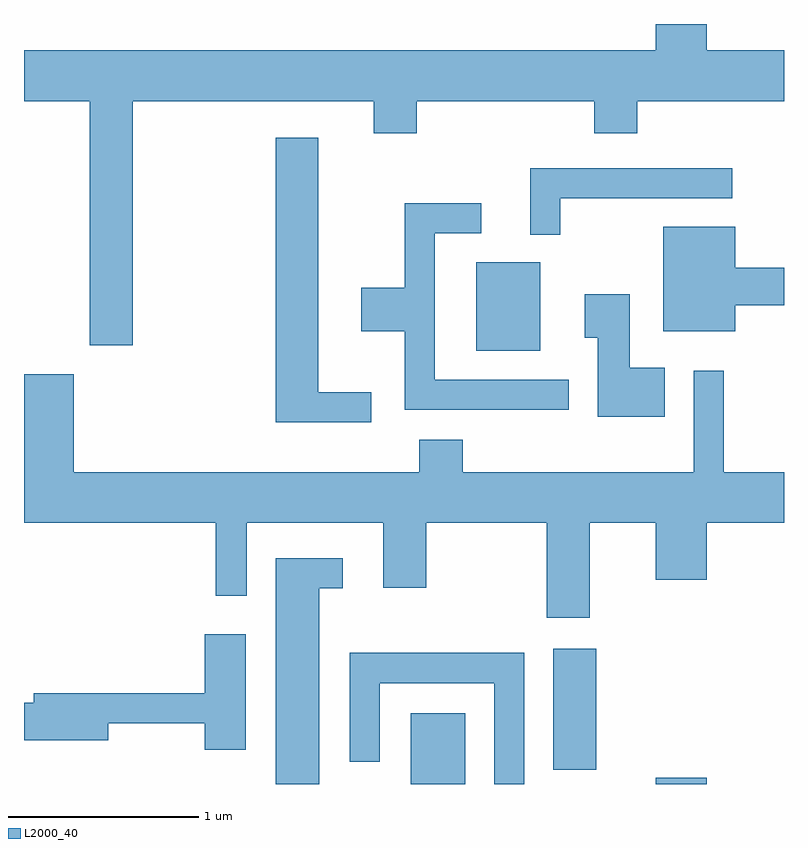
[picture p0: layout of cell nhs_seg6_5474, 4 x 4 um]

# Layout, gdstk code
import gdstk
lib = gdstk.Library(unit=1e-6, precision=1e-09)
def R(c, l, rs):  # rectangles x0, y0, x1, y1
    for r in rs: c.add(gdstk.rectangle(r[:2], r[2:], *l))
def P(c, l, *ps):  # polygons
    for p in ps: c.add(gdstk.Polygon(p, *l))
L2000_40 = (2000, 40)

nhs_seg6_5474 = lib.new_cell('nhs_seg6_5474')
R(nhs_seg6_5474, L2000_40, [(353.646,1604.162,353.934,1604.534), (354.936,1604.162,355.204,1604.194), (354.396,1604.236,354.624,1604.874), (353.991,1606.441,354.329,1606.909)])
P(nhs_seg6_5474, L2000_40, [(352.184,1607.756),(353.451,1607.756),(353.451,1607.586),(353.679,1607.586),(353.679,1607.756),(354.611,1607.756),(354.611,1607.586),(354.839,1607.586),(354.839,1607.756),(355.611,1607.756),(355.611,1608.024),(355.204,1608.024),(355.204,1608.162),(354.936,1608.162),(354.936,1608.024),(351.611,1608.024),(351.611,1607.756),(351.956,1607.756),(351.956,1606.471),(352.184,1606.471)],
  [(353.438,1606.224),(353.159,1606.224),(353.159,1607.564),(352.936,1607.564),(352.936,1606.066),(353.438,1606.066)],
  [(354.434,1607.246),(355.338,1607.246),(355.338,1607.404),(354.276,1607.404),(354.276,1607.053),(354.434,1607.053)],
  [(354.478,1606.289),(353.774,1606.289),(353.774,1607.061),(354.018,1607.061),(354.018,1607.219),(353.616,1607.219),(353.616,1606.774),(353.386,1606.774),(353.386,1606.546),(353.616,1606.546),(353.616,1606.131),(354.478,1606.131)],
  [(355.354,1606.681),(355.611,1606.681),(355.611,1606.879),(355.354,1606.879),(355.354,1607.094),(354.976,1607.094),(354.976,1606.546),(355.354,1606.546)],
  [(354.984,1606.354),(354.799,1606.354),(354.799,1606.739),(354.561,1606.739),(354.561,1606.511),(354.631,1606.511),(354.631,1606.096),(354.984,1606.096)],
  [(354.589,1605.536),(354.936,1605.536),(354.936,1605.236),(355.204,1605.236),(355.204,1605.536),(355.611,1605.536),(355.611,1605.804),(355.294,1605.804),(355.294,1606.338),(355.136,1606.338),(355.136,1605.804),(353.919,1605.804),(353.919,1605.974),(353.691,1605.974),(353.691,1605.804),(351.874,1605.804),(351.874,1606.319),(351.611,1606.319),(351.611,1605.536),(352.621,1605.536),(352.621,1605.153),(352.784,1605.153),(352.784,1605.536),(353.501,1605.536),(353.501,1605.196),(353.729,1605.196),(353.729,1605.536),(354.361,1605.536),(354.361,1605.036),(354.589,1605.036)],
  [(353.164,1605.191),(353.288,1605.191),(353.288,1605.349),(352.936,1605.349),(352.936,1604.162),(353.164,1604.162)],
  [(352.779,1604.949),(352.561,1604.949),(352.561,1604.639),(351.661,1604.639),(351.661,1604.589),(351.611,1604.589),(351.611,1604.391),(352.054,1604.391),(352.054,1604.481),(352.561,1604.481),(352.561,1604.341),(352.779,1604.341)],
  [(354.244,1604.854),(353.326,1604.854),(353.326,1604.278),(353.484,1604.278),(353.484,1604.691),(354.086,1604.691),(354.086,1604.162),(354.244,1604.162)])

lib.write_gds('nhs_seg6_5474.gds')
